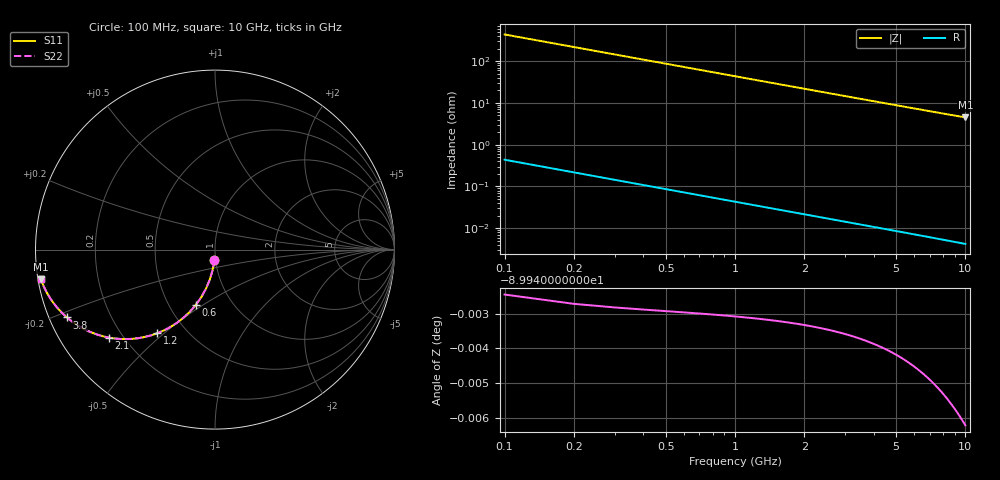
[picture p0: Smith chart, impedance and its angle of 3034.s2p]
# Hz S RI R 50.00
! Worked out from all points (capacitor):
!   100 points, 100 MHz to 10 GHz, reference 50 ohm
!   read as one part in shunt: C = 3.66 pF near 100 MHz
!   lowest |Z| = 4.49 ohm at 10 GHz (marker M1)
!   S11 on the Smith chart (normalised r, x): 100 MHz: 0.99, -0.11; 600 MHz: 0.68, -0.47; 1.2 GHz: 0.35, -0.47; 2.1 GHz: 0.15, -0.35; 3.8 GHz: 0.05, -0.22; 10 GHz: 0.01, -0.08
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1e8  -0.00334 -0.0573  0.9966 -0.0574  0.9966 -0.0574  -0.00334 -0.0573
2e8  -0.0132 -0.1134  0.9868 -0.1136  0.9868 -0.1136  -0.0132 -0.1134
3e8  -0.029 -0.1673  0.9709 -0.1676  0.9709 -0.1676  -0.029 -0.1673
4e8  -0.0504 -0.2181  0.9496 -0.2185  0.9496 -0.2185  -0.0504 -0.2181
5e8  -0.0765 -0.2651  0.9234 -0.2656  0.9234 -0.2656  -0.0765 -0.2651
6e8  -0.1065 -0.3078  0.8935 -0.3083  0.8935 -0.3083  -0.1065 -0.3078
7e8  -0.1395 -0.3457  0.8604 -0.3463  0.8604 -0.3463  -0.1395 -0.3457
9e8  -0.2112 -0.4072  0.7888 -0.4081  0.7888 -0.4081  -0.2112 -0.4072
1.2e9  -0.3221 -0.4662  0.6779 -0.4673  0.6779 -0.4673  -0.3221 -0.4662
1.5e9  -0.4257 -0.4933  0.5743 -0.4946  0.5743 -0.4946  -0.4257 -0.4933
1.8e9  -0.5159 -0.4984  0.4841 -0.5001  0.4841 -0.5001  -0.5159 -0.4984
2.1e9  -0.5916 -0.4901  0.4084 -0.492  0.4084 -0.492  -0.5916 -0.4901
2.4e9  -0.6539 -0.4741  0.3461 -0.4763  0.3461 -0.4763  -0.6539 -0.4741
2.7e9  -0.7048 -0.4544  0.2952 -0.4569  0.2952 -0.4569  -0.7048 -0.4544
3e9  -0.7465 -0.4331  0.2535 -0.4359  0.2535 -0.4359  -0.7465 -0.4331
3.4e9  -0.7906 -0.4048  0.2094 -0.408  0.2094 -0.408  -0.7906 -0.4048
3.8e9  -0.8249 -0.3778  0.1751 -0.3814  0.1751 -0.3814  -0.8249 -0.3778
4.4e9  -0.8631 -0.3412  0.1369 -0.3453  0.1369 -0.3453  -0.8631 -0.3412
5.1e9  -0.8942 -0.3046  0.1057 -0.3094  0.1057 -0.3094  -0.8942 -0.3046
6.7e9  -0.9357 -0.2415  0.0642 -0.2479  0.0642 -0.2479  -0.9357 -0.2415
8.4e9  -0.9581 -0.1957  0.0418 -0.2038  0.0418 -0.2038  -0.9581 -0.1957
1e10  -0.9701 -0.1648  0.0298 -0.1745  0.0298 -0.1745  -0.9701 -0.1648
